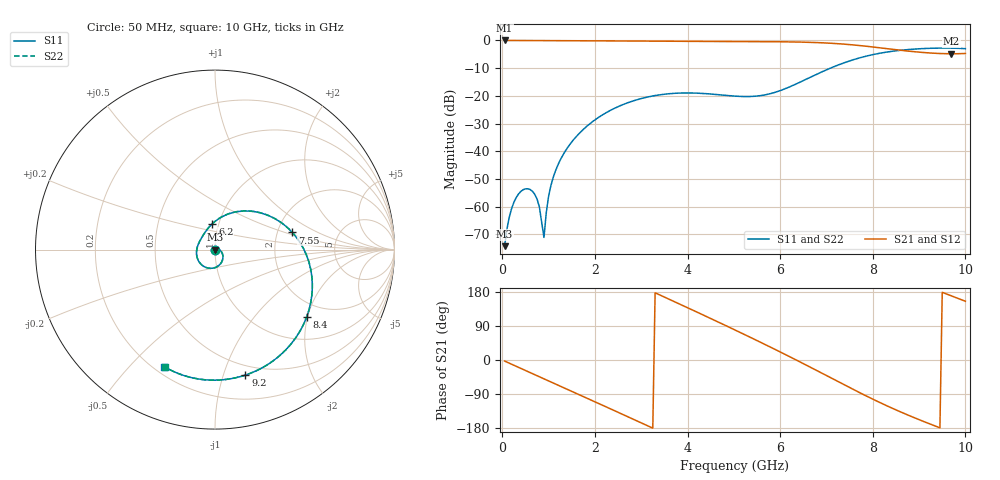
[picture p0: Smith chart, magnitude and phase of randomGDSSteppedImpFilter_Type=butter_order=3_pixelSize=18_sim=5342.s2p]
! freq	dB(S11)	phase(S11)	dB(S12)	phase(S12)
!  dB(S21)	phase(S21)	dB(S22)	phase(S22)
!S-par simulation data
#  GHz  S  DB  R 50
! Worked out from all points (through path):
!   200 points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, 50 MHz to 10 GHz, reference 50 ohm
!   highest |S21| = -0.01 dB at 50 MHz (marker M1); lowest = -4.8 dB at 9.7 GHz (marker M2)
!   group delay of S21, straight-line fit = 161 ps
!   lowest |S11| = -74.2 dB at 50 MHz (marker M3), VSWR 1.00, Z = 50 - j0.0157 ohm
!   |S11| at or under -10 dB: start of sweep to 7.086 GHz
!   |S22| runs from -74.2 to -2.8 dB; largest |S21 - S12| = 0
!   S11 on the Smith chart (normalised r, x): 50 MHz: 1.00, -0.00; 6.2 GHz: 0.93, +0.27; 7.55 GHz: 2.41, +0.57; 8.4 GHz: 1.57, -1.97; 9.2 GHz: 0.41, -1.19; 10 GHz: 0.24, -0.63
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0.05  -74.24 -53.9  -0.01 -2.8  -0.01 -2.8  -74.24 -54.0
0.15  -63.85 -68.2  -0.02 -8.3  -0.02 -8.3  -63.86 -68.3
0.25  -58.43 -78.2  -0.02 -13.8  -0.02 -13.8  -58.45 -78.4
0.5  -53.56 -102.8  -0.04 -27.6  -0.04 -27.6  -53.59 -103.3
0.75  -57.19 -125.6  -0.05 -41.3  -0.05 -41.3  -57.23 -127.4
0.9  -71.09 137.4  -0.06 -49.6  -0.06 -49.6  -69.85 132.1
1  -56.20 48.5  -0.07 -55.1  -0.07 -55.1  -56.07 51.3
1.15  -47.02 34.8  -0.08 -63.3  -0.08 -63.3  -46.98 36.0
1.75  -32.09 -3.4  -0.11 -96.4  -0.11 -96.4  -32.08 -2.9
2.65  -22.86 -54.9  -0.20 -146.4  -0.20 -146.4  -22.85 -54.5
3.4  -19.63 -97.1  -0.28 171.8  -0.28 171.8  -19.62 -96.7
4.3  -19.10 -148.0  -0.36 121.0  -0.36 121.0  -19.10 -147.5
5.05  -20.13 167.6  -0.39 77.8  -0.39 77.8  -20.13 168.3
5.7  -19.55 127.0  -0.44 39.4  -0.44 39.4  -19.55 127.8
6.2  -16.79 95.8  -0.53 9.1  -0.53 9.1  -16.80 96.4
6.7  -12.91 65.0  -0.72 -22.0  -0.72 -22.0  -12.91 65.4
7.55  -7.12 12.5  -1.58 -75.9  -1.58 -75.9  -7.12 12.8
8.35  -4.08 -33.7  -3.05 -123.4  -3.05 -123.4  -4.08 -33.5
8.4  -3.96 -36.4  -3.15 -126.2  -3.15 -126.2  -3.96 -36.2
9.2  -2.86 -76.3  -4.49 -167.2  -4.49 -167.2  -2.86 -76.2
9.7  -2.78 -99.5  -4.81 169.2  -4.81 169.2  -2.78 -99.4
10  -2.96 -113.3  -4.70 155.0  -4.70 155.0  -2.96 -113.2
